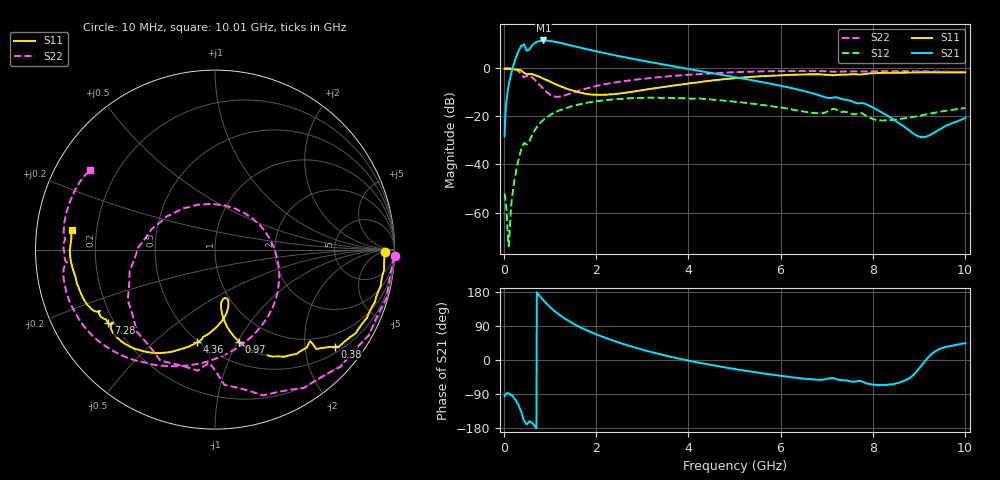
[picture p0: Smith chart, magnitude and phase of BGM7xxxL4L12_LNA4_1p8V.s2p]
! (c) 2014 Infineon Technologies AG
! BGM7xxxL4L12 - Silicon Germanium Quad-Band LTE LNA bank
! 20 May 2014
! Special Application Board
! C1 = L1 = 0 Ohm
! C2 = 100 nF
! Vcc = 1.8V
! RF input and output lines de-embedded
! Port 1 reference plane: LNA input AI (pin 2)
! Port 2 reference plane: LNA output AO (pin 3)
! Network Data:
! Measured BGM7xxxL4L12 device level s-parameters
# GHz S MA R 50
!Freq  MagS11  AngS11  MagS21  AngS21  MagS12  AngS12  MagS22  AngS22
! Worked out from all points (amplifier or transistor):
!   1001 points, 10 MHz to 10.01 GHz, reference 50 ohm
!   highest |S21| = 11.3 dB at 850 MHz (marker M1)
!   |S21| within 3 dB of that: 572.8 MHz to 1.654 GHz (1.081 GHz wide, 97.1 % of centre)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
!   unconditionally stable (mu >= 1): 13.64 MHz to end of sweep
!   at 1.67 GHz: K = 1.13, MAG = 9.4 dB, |S12| = -14.9 dB
!   at 5.01 GHz: K = 1.27, MAG = 2.0 dB, |S12| = -14.0 dB
!   at 10.01 GHz: K = 4.60, MAG = -11.7 dB, |S12| = -16.6 dB
!   lowest NFmin = 0.65 dB at 850 MHz
!   S11 on the Smith chart (normalised r, x): 10 MHz: 35, -9; 380 MHz: 0.65, -2.69; 970 MHz: 0.71, -1.01; 4.36 GHz: 0.49, -0.70; 7.28 GHz: 0.18, -0.30; 10.01 GHz: 0.11, +0.07
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0.01  0.9477 -0.8  0.03819 -96.2  0.002512 -2.7  1.002 -2.1
0.11  0.9429 -10.5  0.5023 -89.2  0.0002885 149.6  0.9758 -24.6
0.22  0.9289 -21.2  1.294 -101.4  0.004588 -175.4  0.9252 -49.9
0.32  0.9037 -31.9  2.278 -121.5  0.0134 174.9  0.8333 -73.8
0.38  0.8603 -38.9  2.844 -139.9  0.02128 162.7  0.7328 -86.9
0.48  0.744 -43.9  2.371 -168.2  0.02615 138.0  0.6725 -97.3
0.54  0.7454 -46.3  2.389 -162.6  0.02954 145.2  0.6824 -113.3
0.64  0.7216 -54.5  3.087 -170.9  0.0465 143.4  0.5874 -141.3
0.74  0.6686 -62.5  3.515 173.9  0.06481 134.3  0.4761 -168.3
0.85  0.6007 -69.6  3.679 157.8  0.08359 123.6  0.3709 161.9
0.97  0.5306 -75.4  3.63 142.5  0.1019 113.1  0.2922 128.3
1.25  0.4049 -82.4  3.223 114.9  0.137 93.9  0.2574 54.7
1.68  0.3017 -83.6  2.572 84.8  0.18 73.4  0.3494 -7.8
2.36  0.2843 -75.8  1.852 51.4  0.2218 49.8  0.4895 -56.3
3.35  0.3889 -83.2  1.219 16.2  0.2412 24.7  0.6387 -97.4
4.36  0.5251 -100.8  0.8219 -10.1  0.2261 6.0  0.7546 -124.6
5.01  0.6101 -112.0  0.642 -23.9  0.1996 -2.7  0.8103 -137.9
6.68  0.7331 -138.1  0.2993 -51.1  0.1176 -2.9  0.8592 -167.1
7.28  0.722 -145.5  0.2352 -52.9  0.1257 -2.4  0.8381 -176.4
8.35  0.7884 -163.9  0.09816 -65.2  0.08201 19.1  0.8533 165.6
9.08  0.8069 -176.7  0.03686 -11.1  0.1053 39.6  0.8452 155.7
10.01  0.8037 172.3  0.09164 44.3  0.1479 45.1  0.8249 147.4
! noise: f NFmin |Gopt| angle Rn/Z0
0.7  0.6928  0.4463  45.69  0.1741
0.75  0.6945  0.4242  46.59  0.1509
0.8  0.6771  0.4283  51.5  0.1405
0.85  0.6462  0.4179  54.85  0.1419
0.9  0.6614  0.399  56.8  0.1421
0.95  0.7037  0.3956  60.02  0.1379
1  0.7225  0.3931  63.79  0.1361
